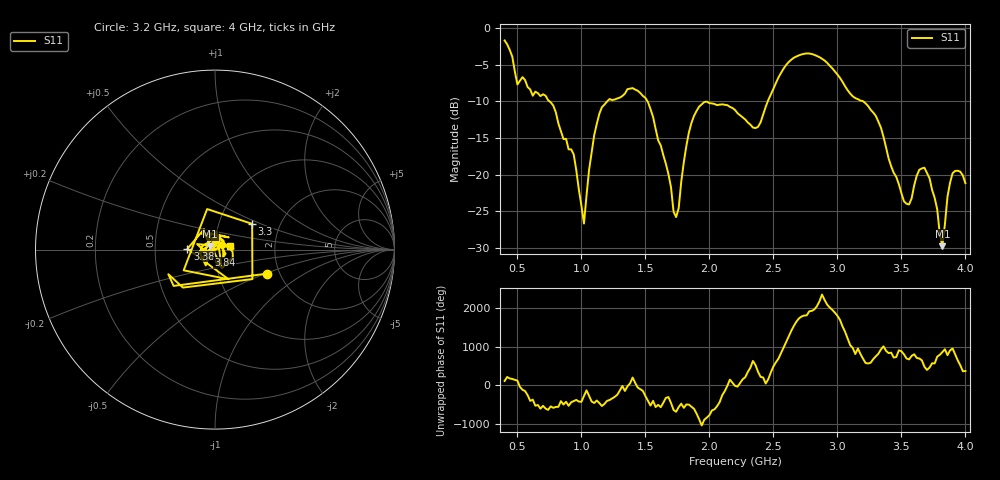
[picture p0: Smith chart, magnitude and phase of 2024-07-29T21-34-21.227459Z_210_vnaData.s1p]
!Created with skrf (http://scikit-rf.org).
# Hz S RI R 50.0
!freq ReS11 ImS11
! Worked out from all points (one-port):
!   181 points, 400 MHz to 4 GHz, reference 50 ohm
!   lowest |S11| = -29.8 dB at 3.82 GHz (marker M1), VSWR 1.07, Z = 47.4 + j1.81 ohm
!   |S11| at or under -10 dB: 751.4 MHz to 1.201 GHz (449.8 MHz wide, 46.1 % of centre); 1.517 GHz to 2.456 GHz (939.3 MHz wide, 47.3 % of centre); 3.202 GHz to end of sweep
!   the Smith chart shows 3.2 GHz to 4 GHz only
!   S11 on the Smith chart (normalised r, x): 3.2 GHz: 1.71, -0.51; 3.3 GHz: 1.44, +0.44; 3.38 GHz: 0.73, +0.01; 3.84 GHz: 0.93, -0.05; 4 GHz: 1.19, +0.04
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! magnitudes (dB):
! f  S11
! 400 MHz  -1.7
! 500 MHz  -7.7
! 720 MHz  -9.2
! 860 MHz  -15.1
! 940 MHz  -17.3
! 1.02 GHz  -26.7
! 1.06 GHz  -19.3
! 1.14 GHz  -11.7
! 1.3 GHz  -9.5
! 1.52 GHz  -10.1
! 1.72 GHz  -25.1
! 1.76 GHz  -24.6
! 1.82 GHz  -16.1
! 1.9 GHz  -11.3
! 2.2 GHz  -11.2
! 2.38 GHz  -13.5
! 2.66 GHz  -4.0
! 2.88 GHz  -4.2
! 3.1 GHz  -8.9
! 3.2 GHz  -10.0
! 3.3 GHz  -12.0
! 3.38 GHz  -16.3
! 3.56 GHz  -24.1
! 3.68 GHz  -19.1
! 3.82 GHz  -29.8
! 3.84 GHz  -26.8
! 3.9 GHz  -19.8
! 4 GHz  -21.2
